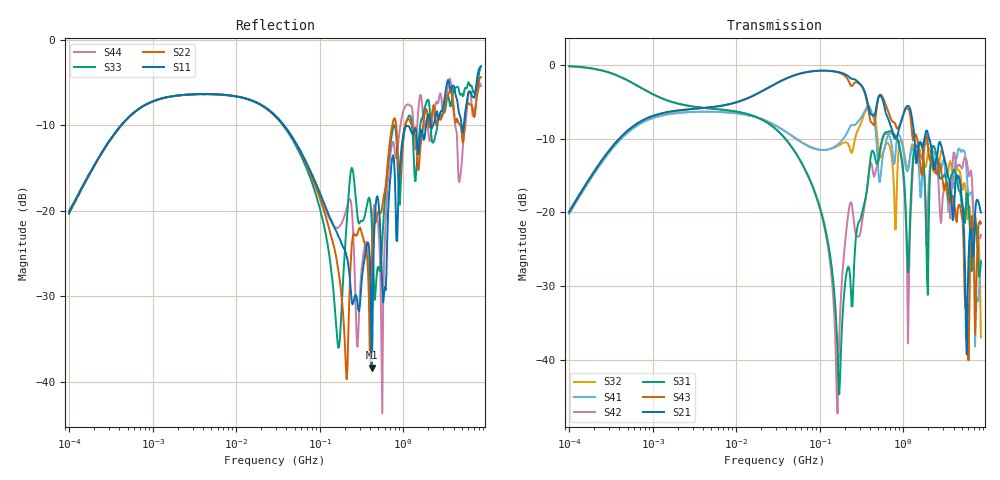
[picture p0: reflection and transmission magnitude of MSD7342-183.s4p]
# MHz S MA R 50
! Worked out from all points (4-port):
!   498 points, 100 kHz to 8.5 GHz, reference 50 ohm
!   strongest paths, dB at 100 kHz, 1.698 MHz, 29.49 MHz, 500.7 MHz, 8.5 GHz:
!     S21: -20.0, -6.3, -2.6, -4.5, -20.0
!     S43: -19.9, -6.3, -2.6, -4.6, -21.5
!     S31: -0.2, -5.0, -8.7, -13.2, -26.7
!     S42: -0.2, -5.0, -8.7, -13.2, -23.1
!     S41: -20.2, -6.6, -8.2, -14.3, -26.5
!     S32: -20.2, -6.6, -8.2, -10.9, -37.0
!   lowest |S11| = -38.4 dB at 417.1 MHz (marker M1), VSWR 1.02, Z = 50.5 - j1.1 ohm
!   |S11| at or under -10 dB: 37.42 MHz to 1.875 GHz (1.837 GHz wide, 192 % of centre); 2.138 GHz to 2.272 GHz (133.6 MHz wide, 6.06 % of centre); 4.996 GHz to 5.305 GHz (308.5 MHz wide, 5.99 % of centre)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
0.1  0.09662 77.4  0.1006 78.1  0.9775 -5.8  0.0974 -102.3
     0.1006 78.1  0.09597 77.8  0.09804 -102.3  0.979 -5.7
     0.9775 -5.8  0.09804 -102.3  0.09993 77.9  0.1006 77.9
     0.0974 -102.3  0.979 -5.7  0.1006 77.9  0.09695 77.6
37.05545  0.3182 -50.0  0.7935 8.2  0.3244 -56.5  0.3587 119.5
          0.7935 8.2  0.3171 -53.5  0.3597 116.6  0.3234 -56.8
          0.3244 -56.5  0.3597 116.6  0.3126 -53.6  0.793 7.8
          0.3587 119.5  0.3234 -56.8  0.793 7.8  0.3163 -50.2
171.1518  0.06968 -70.0  0.8906 -38.8  0.005835 -37.1  0.2939 50.1
          0.8906 -38.8  0.04146 -97.2  0.2857 40.1  0.01385 77.7
          0.005835 -37.1  0.2857 40.1  0.01621 -10.0  0.8832 -41.6
          0.2939 50.1  0.01385 77.7  0.8832 -41.6  0.08067 -53.5
417.0585  0.01207 -64.0  0.4591 -88.1  0.2551 7.8  0.4781 -59.6
          0.4591 -88.1  0.04367 83.5  0.4779 -52.2  0.2145 -14.9
          0.2551 7.8  0.4779 -52.2  0.09069 -121.2  0.4056 -89.8
          0.4781 -59.6  0.2145 -14.9  0.4056 -89.8  0.05065 29.3
5898.28  0.4658 -92.7  0.02687 40.3  0.1329 -105.1  0.1457 -142.7
         0.02687 40.3  0.4305 -93.1  0.08981 -123.1  0.2043 -140.9
         0.1329 -105.1  0.08981 -123.1  0.5441 -86.2  0.02223 -76.6
         0.1457 -142.7  0.2043 -140.9  0.02223 -76.6  0.4468 -106.3
7244.201  0.4825 70.5  0.09793 -146.6  0.0831 118.7  0.01228 35.1
          0.09793 -146.6  0.3682 93.2  0.07699 70.7  0.09489 26.2
          0.0831 118.7  0.07699 70.7  0.4943 90.7  0.01482 1.0
          0.01228 35.1  0.09489 26.2  0.01482 1.0  0.3963 62.8
8500  0.6957 -62.1  0.09971 23.9  0.04615 -9.2  0.04721 -36.9
      0.09971 23.9  0.6055 -64.9  0.0142 -120.8  0.07016 -107.1
      0.04615 -9.2  0.0142 -120.8  0.702 -58.6  0.08375 42.8
      0.04721 -36.9  0.07016 -107.1  0.08375 42.8  0.5375 -79.9
